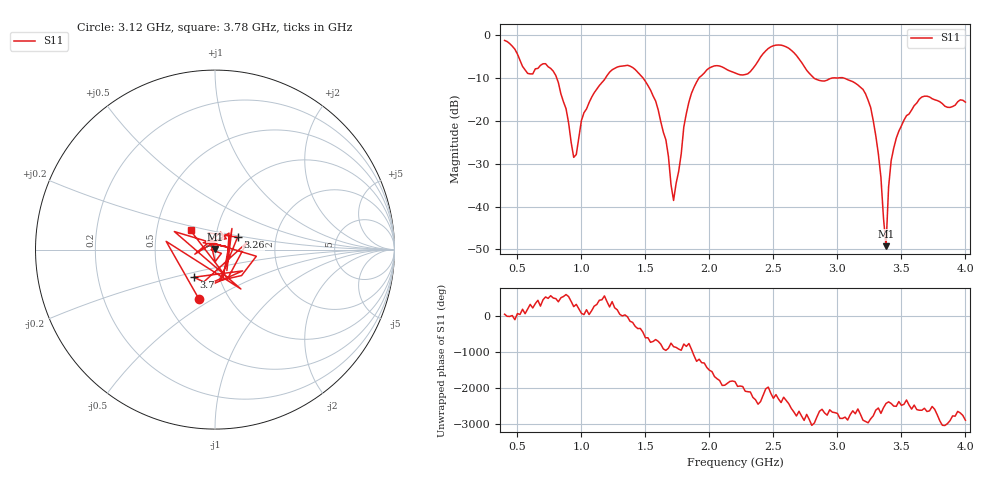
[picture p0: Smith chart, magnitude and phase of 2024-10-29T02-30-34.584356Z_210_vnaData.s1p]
!Created with skrf (http://scikit-rf.org).
# Hz S RI R 50.0
!freq ReS11 ImS11
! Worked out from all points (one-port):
!   181 points, 400 MHz to 4 GHz, reference 50 ohm
!   lowest |S11| = -49.3 dB at 3.38 GHz (marker M1), VSWR 1.01, Z = 50 + j0.343 ohm
!   |S11| at or under -10 dB: 807.3 MHz to 1.188 GHz (380.4 MHz wide, 38.1 % of centre); 1.482 GHz to 1.918 GHz (435.7 MHz wide, 25.6 % of centre); 3.051 GHz to end of sweep (the widest 3 of 4)
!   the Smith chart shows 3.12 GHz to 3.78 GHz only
!   S11 on the Smith chart (normalised r, x): 3.12 GHz: 0.73, -0.43; 3.26 GHz: 1.27, +0.18; 3.7 GHz: 0.75, -0.24; 3.78 GHz: 0.74, +0.16
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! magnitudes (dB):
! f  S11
! 400 MHz  -1.2
! 580 MHz  -8.9
! 760 MHz  -7.7
! 860 MHz  -15.6
! 940 MHz  -28.5
! 1.08 GHz  -14.5
! 1.3 GHz  -7.3
! 1.58 GHz  -15.4
! 1.66 GHz  -24.4
! 1.72 GHz  -38.6
! 1.76 GHz  -31.8
! 1.82 GHz  -18.3
! 1.9 GHz  -10.9
! 2.2 GHz  -8.8
! 2.5 GHz  -2.4
! 2.66 GHz  -4.1
! 2.82 GHz  -10.1
! 3.1 GHz  -10.6
! 3.12 GHz  -10.8
! 3.26 GHz  -16.9
! 3.32 GHz  -27.7
! 3.38 GHz  -49.3
! 3.4 GHz  -35.4
! 3.42 GHz  -29.3
! 3.56 GHz  -18.4
! 3.7 GHz  -14.2
! 3.78 GHz  -15.2
! 4 GHz  -15.6
